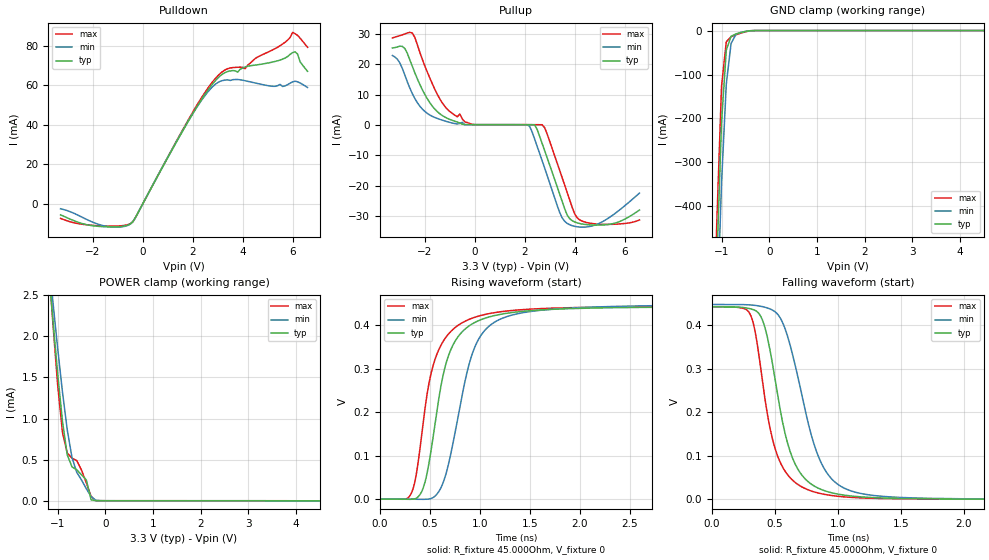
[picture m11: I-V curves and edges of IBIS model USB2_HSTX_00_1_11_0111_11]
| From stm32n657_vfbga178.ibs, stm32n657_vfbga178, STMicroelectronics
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[Model] USB2_HSTX_00_1_11_0111_11
Model_type   Output
Polarity   Non-Inverting
Enable   Active-High
C_comp   8.036pF   7.631pF   8.569pF
Vmeas = 200.000mV
Vref = 200.000mV
Rref = 45Ohms
Cref = 0pF
[Model Spec]
Vmeas   200.000mV   200.000mV   200.000mV
Vref   200.000mV   200.000mV   200.000mV
| This model is not intended for timing simulations.
| Warnings about Cref, Vref & Rref can be ignored
[Temperature Range]   25.000   125.000   -40.000
[Voltage Range]   3.300V   3.070V   3.630V
[GND Clamp Reference]   0.00V   0.00V   0.00V
[Pulldown Reference]   0.00V   0.00V   0.00V
[POWER Clamp Reference]   3.300V   3.070V   3.630V
[Pullup Reference]   3.300V   3.070V   3.630V
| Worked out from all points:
|   slope of the pulldown table from 0 to 0.495 V, typ, clamps not added: 42.6 ohm
|   GND clamp passes 1 mA (typ) near -0.43 V on its own axis
|   POWER clamp passes 1 mA (typ) near -0.91 V on its own axis
|   rising waveform, R_fixture 45.000Ohm, V_fixture 0: 20-80 % time 234ps typ, 270ps min, 225ps max; typ from 0 V to 0.442 V
|   falling waveform, R_fixture 45.000Ohm, V_fixture 0: 20-80 % time 196ps typ, 242ps min, 176ps max; typ from 0.442 V to 0 V
[GND Clamp]
-3.3V     -11.02A    -10.62A    -11.32A
-1.2V     -931.6mA   -1.049A    -855.7mA
-1.1V     -533.1mA   -671.7mA   -440.2mA
-1V       -209.4mA   -347mA     -127.3mA
-900mV    -44.44mA   -121.7mA   -25.6mA
-800mV    -13.15mA   -29.48mA   -14.15mA
-700mV    -7.742mA   -9.125mA   -9.769mA
-500mV    -2.127mA   -1.981mA   -2.894mA
-300mV    -19.29uA   -62.24uA   -13.76uA
6.6V      10.37uA    26.59uA    21.05uA
[Power Clamp]
-3.3V     3.206A     2.175A     4.855A
-1.2V     2.88mA     3.008mA    2.969mA
-1.1V     2.195mA    2.419mA    2.156mA
-1V       1.545mA    1.853mA    1.406mA
-900mV    967.6uA    1.324mA    831.4uA
-800mV    558uA      864.6uA    580.3uA
-700mV    412uA      525.9uA    517uA
-600mV    376.6uA    345uA      488.5uA
-400mV    254.2uA    146.6uA    216.8uA
-300mV    11.21uA    52.87uA    53.51uA
-100mV    94.86nA    985nA      361.1nA
6.6V      -3.596uA   -5.12uA    -3.077uA
[Pulldown]
-3.3V     -5.671mA   -2.581mA   -7.449mA
-1.6V     -11.64mA   -11.09mA   -11.31mA
-500mV    -10.25mA   -10.32mA   -10.1mA
1.9V      43.42mA    43.46mA    44.13mA
2.9V      62.15mA    60.37mA    63.26mA
3.4V      66.87mA    62.63mA    68.29mA
4.1V      69.19mA    62.19mA    68.26mA
4.5V      70.11mA    61.06mA    73.4mA
5.6V      73.12mA    59.29mA    80.76mA
6V        76.42mA    61.63mA    86.69mA
6.1V      76.81mA    61.94mA    85.99mA
6.6V      66.95mA    58.79mA    79.1mA
[Pullup]
-3.3V     25.37mA    22.87mA    28.67mA
-2.8V     25.17mA    16.38mA    30mA
-2.5V     19.29mA    10.28mA    30.28mA
-1.7V     6.185mA    2.83mA     13.54mA
-1.2V     2.603mA    1.31mA     6.112mA
-400mV    111.7uA    77.66uA    1.021mA
2.2V      68.82uA    -465uA     104.8uA
2.4V      56.18uA    -4.685mA   90.82uA
2.8V      -8.459mA   -14.22mA   -919.2uA
3.7V      -29.65mA   -32.41mA   -22.19mA
4.3V      -32.64mA   -33.68mA   -31.68mA
6.6V      -28.04mA   -22.46mA   -31.3mA
[Ramp]
R_load=45.000Ohm
dV/dt_r   633.020mV/1.005ns  601.226mV/1.010ns  686.730mV/960.000ps
dV/dt_f   635.187mV/225.000ps  604.107mV/285.000ps  688.533mV/210.000ps
[Rising waveform]
R_fixture=45.000Ohm
V_fixture=0
0s        452.2nV    3.129uV    468nV
320ps     -486.7uV   -405.8uV   17.15mV
370ps     3.022mV    -585.3uV   67.35mV
450ps     39.3mV     -570.4uV   209.1mV
590ps     234.5mV    18.02mV    345.3mV
760ps     367mV      164.1mV    396.6mV
920ps     403.1mV    332.8mV    416.5mV
1.09ns    419.4mV    398.1mV    427.1mV
2.36ns    440.8mV    443.8mV    442.2mV
9.9ns     442.5mV    448.1mV    442.6mV
[Falling waveform]
R_fixture=45.000Ohm
V_fixture=0
0s        441.9mV    447.5mV    442.1mV
310ps     437.2mV    446.4mV    421mV
420ps     395.5mV    441.2mV    232.7mV
530ps     226.1mV    422mV      93.26mV
680ps     70.53mV    284.7mV    34.71mV
810ps     30.96mV    127.5mV    17.2mV
930ps     16.6mV     54.11mV    9.62mV
1.16ns    6.185mV    14.88mV    3.624mV
1.71ns    1.151mV    2.415mV    840.6uV
9.9ns     14.44uV    30.35uV    5.266uV
